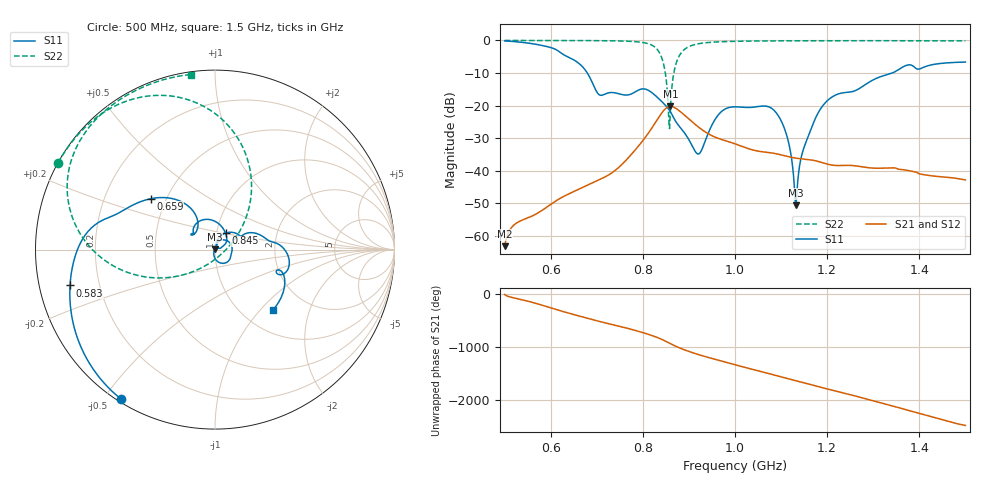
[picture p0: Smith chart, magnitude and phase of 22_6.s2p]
! TOUCHSTONE file generated by CST MICROWAVE STUDIO
! Date and time: Sat Oct 24 11:47:08 2020
! Project name: Scenario_1_Circular_Tissue_out_of_Line.cst
! Parameters = {dy1=18.161; L_HA=400; MT=2.54; Rad_Dielectric=30; Rad_Lower=7.3; Rad_Upper=30; a_HA=580; a_WG=246; b_HA=500; b_WG=121; c_HA=0; c_WG=187; d_feed=85; dx1=1039; h_feed=15; h_lower=18; h_upper=40}
! Header version: 2018
! Port assignment regex: !\s*Touchstone port\s*([0-9]+)\s*=\s*(CST MWS port|CST DS port)\s*([0-9]+|Zmin|Zmax)\s*\(\"(.*)\"\)(\s*mode\s*([0-9]+))?.*
! Touchstone port assignment:
! Touchstone port 1 = CST MWS port 1 ("")
! Touchstone port 2 = CST MWS port 2 ("")
# GHz S DB R 50
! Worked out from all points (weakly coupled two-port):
!   1001 points, 500 MHz to 1.5 GHz, reference 50 ohm
!   highest |S21| = -20.27 dB at 860 MHz (marker M1); lowest = -63.2 dB at 500 MHz (marker M2)
!   lowest |S11| = -50.7 dB at 1.132 GHz (marker M3), VSWR 1.01, Z = 49.7 + j0.117 ohm
!   |S11| at or under -10 dB: 679.5 MHz to 1.341 GHz (661.7 MHz wide, 65.5 % of centre)
!   |S22| runs from -27.0 to 0.0 dB; largest |S21 - S12| = 8.7e-06
!   S11 on the Smith chart (normalised r, x): 500 MHz: 0.01, -0.55; 583 MHz: 0.09, -0.12; 659 MHz: 0.41, +0.29; 845 MHz: 1.11, +0.20; 1.5 GHz: 1.38, -1.18
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0.5  -0.15 -122.2  -63.16 -2.7  -63.16 -2.7  -0.01 151.1
0.583  -1.60 -166.1  -52.00 151.5  -52.00 151.5  -0.02 145.4
0.659  -6.81 141.6  -45.81 -42.1  -45.81 -42.1  -0.04 139.1
0.667  -7.78 134.7  -45.29 -61.0  -45.29 -61.0  -0.04 138.4
0.707  -16.80 136.7  -42.69 -153.7  -42.69 -153.7  -0.07 134.0
0.789  -15.35 133.9  -32.68 25.9  -32.68 25.9  -0.44 117.4
0.834  -17.80 70.9  -23.73 -103.4  -23.73 -103.4  -3.29 83.0
0.845  -19.32 56.8  -21.55 -146.0  -21.55 -146.0  -7.26 62.1
0.855  -20.91 43.2  -20.41 170.5  -20.41 170.5  -19.69 22.4
0.86  -21.94 36.1  -20.27 148.4  -20.27 148.4  -20.55 -117.2
0.877  -25.98 24.2  -21.37 79.0  -21.37 79.0  -5.29 -168.6
0.92  -34.88 40.0  -26.51 -55.7  -26.51 -55.7  -1.03 158.1
0.963  -22.99 49.9  -30.02 -161.2  -30.02 -161.2  -0.44 146.2
1  -20.39 4.6  -31.74 110.8  -31.74 110.8  -0.28 140.2
1.091  -22.50 -72.4  -34.83 -97.7  -34.83 -97.7  -0.13 130.5
1.115  -30.58 -102.7  -35.65 -152.9  -35.65 -152.9  -0.12 128.4
1.132  -50.66 156.4  -36.13 169.4  -36.13 169.4  -0.11 127.0
1.146  -34.58 74.0  -36.38 138.2  -36.38 138.2  -0.10 125.9
1.167  -26.45 76.0  -36.73 89.4  -36.73 89.4  -0.10 124.2
1.209  -17.52 46.5  -38.24 -5.0  -38.24 -5.0  -0.09 120.9
1.334  -10.35 9.4  -39.13 71.8  -39.13 71.8  -0.09 111.5
1.5  -6.64 -45.9  -42.82 43.4  -42.83 43.4  -0.14 97.9
